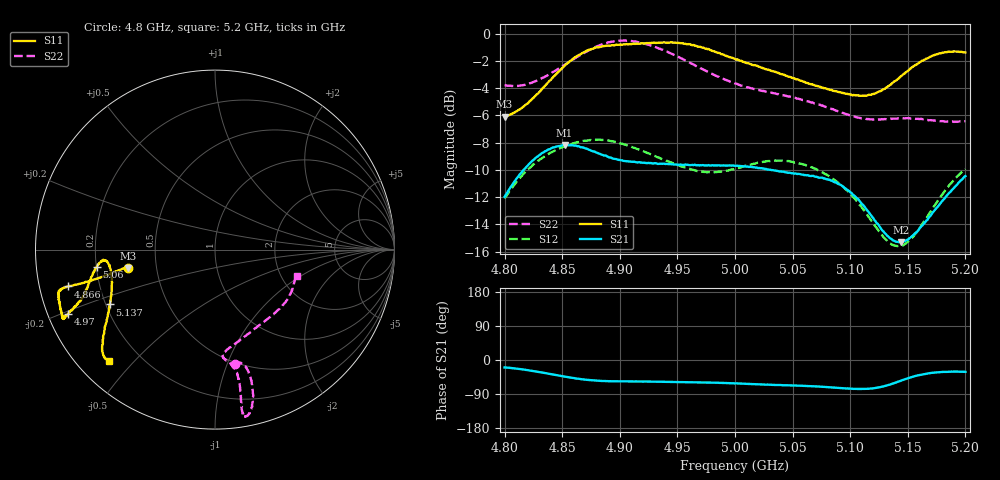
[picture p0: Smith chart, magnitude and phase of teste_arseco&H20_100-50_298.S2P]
! Network Analyzer HP8722D
! Hewlett-Packard
! Data name: Linha & Wilkinson
! Saver's name: Rodrigo Anjos
! Comments: Teste da utilização de aquisição
! continua pelo VNA HP8722D
! Time and date: 6/5/2025 15:03
!  Frequency  S11  S21  S12  S22
# HZ  S  MA R 50
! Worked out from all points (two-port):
!   401 points, 4.8 GHz to 5.2 GHz, reference 50 ohm
!   highest |S21| = -8.16 dB at 4.852 GHz (marker M1); lowest = -15.3 dB at 5.144 GHz (marker M2)
!   |S21| within 3 dB of the highest: 4.806 GHz to 5.093 GHz (286.7 MHz wide, 5.79 % of centre); 5.191854 GHz to end of sweep
!   lowest |S11| = -6.1 dB at 4.8 GHz (marker M3), VSWR 2.97, Z = 17 - j4.59 ohm
!   |S11| at or under -10 dB: nowhere
!   |S22| runs from -6.5 to -0.5 dB; largest |S21 - S12| = 0.62
!   S11 on the Smith chart (normalised r, x): 4.8 GHz: 0.34, -0.09; 4.866 GHz: 0.09, -0.12; 4.97 GHz: 0.06, -0.21; 5.06 GHz: 0.20, -0.07; 5.137 GHz: 0.22, -0.23; 5.2 GHz: 0.09, -0.43
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4.8e9  0.4966 -168.2  0.2518 -19.6  0.2487 -140.9  0.6478 -80.3
4.825e9  0.5815 -167.3  0.3437 -29.0  0.3316 -144.3  0.6659 -75.7
4.852e9  0.7635 -165.8  0.3907 -43.8  0.3868 -149.5  0.7687 -74.6
4.866e9  0.8418 -165.9  0.3831 -50.4  0.4025 -151.8  0.8382 -75.3
4.867e9  0.8479 -165.9  0.383 -50.8  0.4031 -152.0  0.8427 -75.4
4.88e9  0.8915 -165.4  0.3659 -54.7  0.4084 -154.1  0.8993 -76.6
4.901e9  0.9149 -162.3  0.343 -56.3  0.3955 -156.7  0.9442 -79.3
4.934e9  0.9287 -156.4  0.3329 -57.5  0.3513 -155.6  0.8827 -80.4
4.97e9  0.8958 -156.4  0.3293 -59.1  0.3125 -147.0  0.7474 -79.6
5e9  0.8079 -159.0  0.3274 -61.8  0.3198 -137.2  0.6572 -81.2
5.036e9  0.7223 -165.7  0.3136 -65.9  0.3415 -134.3  0.6017 -85.7
5.06e9  0.6665 -171.6  0.3026 -68.2  0.3308 -136.0  0.5707 -84.2
5.067e9  0.6527 -173.1  0.3008 -69.2  0.323 -136.7  0.5594 -82.6
5.082e9  0.6224 -174.6  0.2913 -71.9  0.2995 -138.2  0.5331 -77.2
5.099e9  0.5997 -172.6  0.2647 -75.6  0.2608 -138.8  0.5029 -67.9
5.115e9  0.5947 -165.9  0.2239 -75.9  0.2156 -135.9  0.4861 -56.5
5.134e9  0.6465 -154.3  0.178 -65.3  0.1704 -120.7  0.4864 -43.3
5.137e9  0.6615 -152.5  0.1743 -62.3  0.1675 -116.9  0.4884 -41.4
5.144e9  0.6983 -148.7  0.1712 -54.7  0.1658 -107.5  0.4894 -37.5
5.155e9  0.7599 -144.0  0.1824 -43.6  0.1802 -94.1  0.4889 -31.9
5.172e9  0.8336 -139.0  0.2214 -33.6  0.2302 -81.1  0.4804 -24.6
5.2e9  0.8536 -133.6  0.3001 -31.2  0.3187 -76.9  0.4775 -17.6
